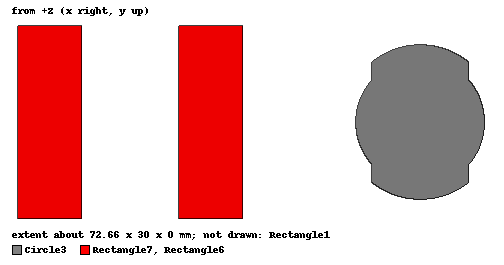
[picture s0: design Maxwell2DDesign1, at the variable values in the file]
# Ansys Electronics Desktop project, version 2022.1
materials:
  vacuum: permittivity=1

design Maxwell2DDesign1 (Maxwell 2D, Magnetostatic, XY geometry, model units mm)
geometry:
  Rectangle1 [vacuum] = rectangle(corner=(0mm, 0mm, 0mm), x_size=60mm, y_size=70mm)
  Rectangle2 = rectangle(corner=(15mm, 15mm, 0mm), x_size=30mm, y_size=40mm)
  Circle1 = circle(normal=Z, centre=(52.5mm, 35mm, 0mm), radius=12.5mm)
  Circle2 = circle(normal=Z, centre=(52.5mm, 35mm, 0mm), radius=12mm)
  Circle3 [vacuum] = circle(normal=Z, centre=(52.5mm, 35mm, 0mm), radius=10mm)
  Rectangle1.subtract(Rectangle2)
  Rectangle1.subtract(Circle1)
  Rectangle3 = rectangle(corner=(45mm, 25.63mm, 0mm), x_size=15mm, y_size=18.73mm)
  Rectangle4 = rectangle(corner=(45mm, 25.63mm, 0mm), x_size=-5mm, y_size=18.73mm)
  Circle2.subtract(Rectangle4)
  Rectangle5 = rectangle(corner=(60mm, 25.63mm, 0mm), x_size=5mm, y_size=18.73mm)
  Circle2.subtract(Rectangle5)
  Circle3.unite(Rectangle3, Circle2)
  Rectangle6 [vacuum] = rectangle(corner=(0mm, 20mm, 0mm), x_size=-10mm, y_size=30mm)
  Rectangle7 [vacuum] = rectangle(corner=(15mm, 20mm, 0mm), x_size=10mm, y_size=30mm)
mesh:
  initial mesh: MeshMethod=AnsoftTAU
